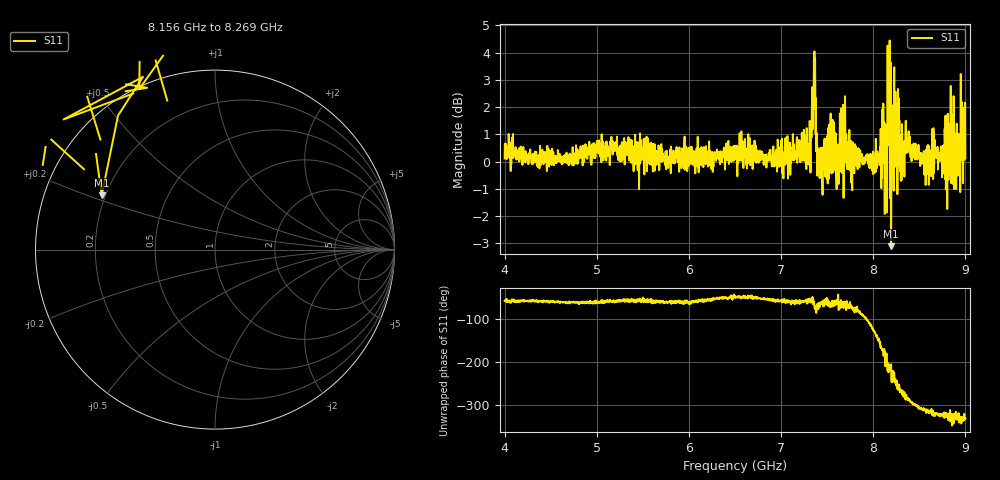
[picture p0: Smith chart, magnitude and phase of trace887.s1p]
! Created with skrf 1.8.0 (http://scikit-rf.org).
# Hz S RI R 50.0
!freq ReS11 ImS11
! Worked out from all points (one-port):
!   1601 points, 4 GHz to 9 GHz, reference 50 ohm
!   lowest |S11| = -3.1 dB at 8.194 GHz (marker M1), VSWR 5.67, Z = 9.26 + j11 ohm
!   |S11| at or under -10 dB: nowhere
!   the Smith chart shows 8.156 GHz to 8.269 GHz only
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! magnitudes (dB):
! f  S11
! 4 GHz  0.1
! 4.625 GHz  -0.1
! 5.25 GHz  0.0
! 5.875 GHz  0.2
! 6.5 GHz  0.3
! 7.125 GHz  0.5
! 7.297 GHz  0.3
! 7.353 GHz  2.0
! 7.381 GHz  0.4
! 7.4 GHz  0.5
! 7.428 GHz  0.5
! 7.534 GHz  0.8
! 7.609 GHz  0.5
! 7.669 GHz  1.3
! 7.75 GHz  0.2
! 8 GHz  0.4
! 8.128 GHz  1.1
! 8.153 GHz  1.8
! 8.194 GHz  -3.1
! 8.216 GHz  2.1
! 8.234 GHz  -0.2
! 8.262 GHz  -1.2
! 8.312 GHz  1.4
! 8.375 GHz  0.9
! 8.553 GHz  0.3
! 8.806 GHz  0.5
! 8.972 GHz  0.7
! 9 GHz  0.1
